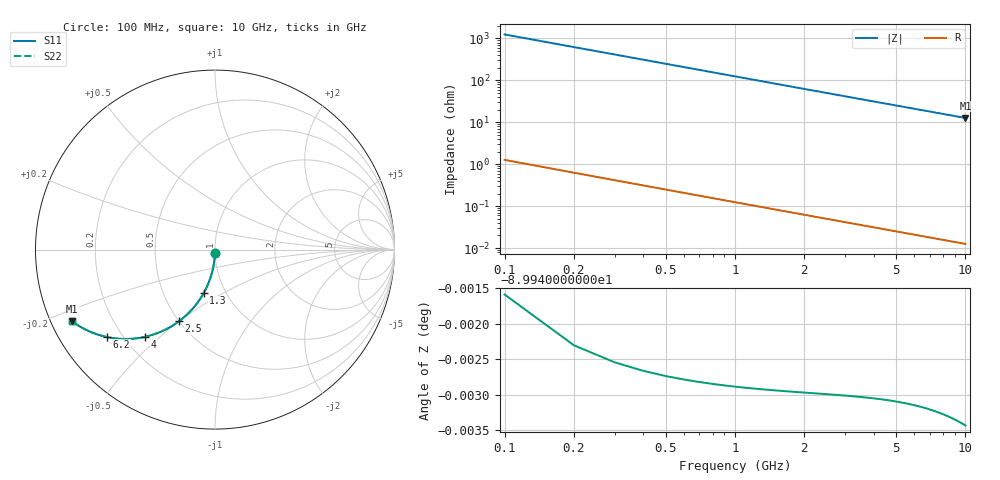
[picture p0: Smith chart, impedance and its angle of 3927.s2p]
# Hz S RI R 50.00
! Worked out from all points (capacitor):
!   100 points, 100 MHz to 10 GHz, reference 50 ohm
!   read as one part in shunt: C = 1.28 pF near 100 MHz
!   lowest |Z| = 12.7 ohm at 10 GHz (marker M1)
!   S11 on the Smith chart (normalised r, x): 100 MHz: 1.00, -0.04; 1.3 GHz: 0.79, -0.41; 2.5 GHz: 0.50, -0.50; 4 GHz: 0.28, -0.45; 6.2 GHz: 0.14, -0.35; 10 GHz: 0.06, -0.24
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1e8  -0.00042 -0.0201  0.9996 -0.0201  0.9996 -0.0201  -0.00042 -0.0201
2e8  -0.00165 -0.0401  0.9983 -0.0402  0.9983 -0.0402  -0.00165 -0.0401
3e8  -0.00368 -0.06  0.9963 -0.0601  0.9963 -0.0601  -0.00368 -0.06
4e8  -0.00649 -0.0797  0.9935 -0.0799  0.9935 -0.0799  -0.00649 -0.0797
5e8  -0.0101 -0.0993  0.9899 -0.0995  0.9899 -0.0995  -0.0101 -0.0993
6e8  -0.0144 -0.1186  0.9856 -0.1189  0.9856 -0.1189  -0.0144 -0.1186
8e8  -0.0253 -0.1563  0.9747 -0.1567  0.9747 -0.1567  -0.0253 -0.1563
1e9  -0.0389 -0.1925  0.9611 -0.1931  0.9611 -0.1931  -0.0389 -0.1925
1.3e9  -0.0638 -0.2436  0.9362 -0.2443  0.9362 -0.2443  -0.0638 -0.2436
1.5e9  -0.0831 -0.2751  0.9169 -0.276  0.9169 -0.276  -0.0831 -0.2751
1.8e9  -0.1152 -0.3183  0.8847 -0.3194  0.8847 -0.3194  -0.1152 -0.3183
2.1e9  -0.1504 -0.3563  0.8496 -0.3575  0.8496 -0.3575  -0.1504 -0.3563
2.5e9  -0.2001 -0.3989  0.7999 -0.4003  0.7999 -0.4003  -0.2001 -0.3989
2.9e9  -0.2515 -0.4325  0.7485 -0.4342  0.7485 -0.4342  -0.2515 -0.4325
3.4e9  -0.3153 -0.4631  0.6846 -0.4652  0.6846 -0.4652  -0.3153 -0.4631
4e9  -0.3887 -0.4857  0.6113 -0.4881  0.6113 -0.4881  -0.3887 -0.4857
5.1e9  -0.5072 -0.4979  0.4928 -0.501  0.4928 -0.501  -0.5072 -0.4979
6.2e9  -0.6025 -0.487  0.3975 -0.4908  0.3975 -0.4908  -0.6025 -0.487
6.7e9  -0.6387 -0.4778  0.3613 -0.4819  0.3613 -0.4819  -0.6387 -0.4778
7.5e9  -0.6886 -0.4603  0.3114 -0.4648  0.3114 -0.4648  -0.6886 -0.4603
8.4e9  -0.7347 -0.4384  0.2653 -0.4435  0.2653 -0.4435  -0.7347 -0.4384
1e10  -0.7966 -0.399  0.2034 -0.4051  0.2034 -0.4051  -0.7966 -0.399
